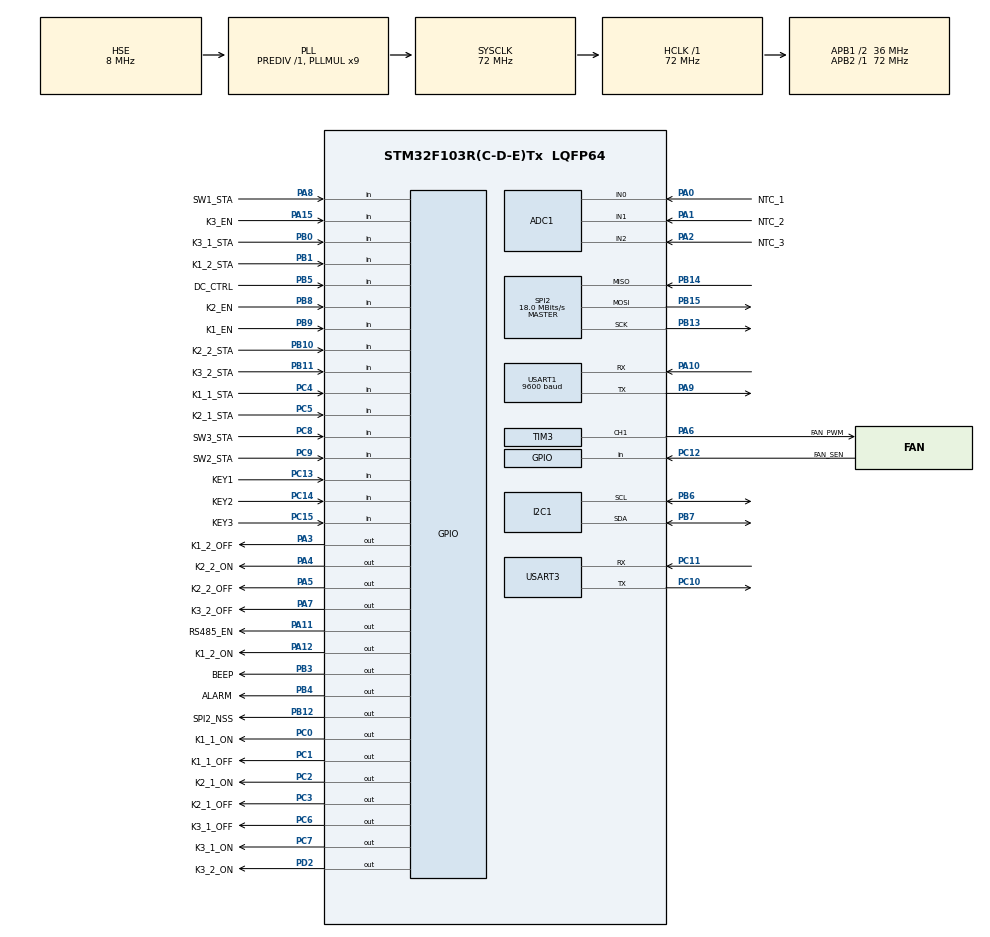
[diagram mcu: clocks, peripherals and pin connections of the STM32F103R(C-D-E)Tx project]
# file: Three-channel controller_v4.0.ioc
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ADC1.Channel-0\#ChannelRegularConversion=ADC_CHANNEL_0
ADC1.Channel-1\#ChannelRegularConversion=ADC_CHANNEL_1
ADC1.Channel-2\#ChannelRegularConversion=ADC_CHANNEL_2
ADC1.ContinuousConvMode=ENABLE
ADC1.NbrOfConversion=3
ADC1.NbrOfConversionFlag=1
ADC1.Rank-0\#ChannelRegularConversion=1
ADC1.Rank-1\#ChannelRegularConversion=2
ADC1.Rank-2\#ChannelRegularConversion=3
ADC1.SamplingTime-0\#ChannelRegularConversion=ADC_SAMPLETIME_55CYCLES_5
ADC1.SamplingTime-1\#ChannelRegularConversion=ADC_SAMPLETIME_55CYCLES_5
ADC1.SamplingTime-2\#ChannelRegularConversion=ADC_SAMPLETIME_55CYCLES_5
ADC1.master=1
Dma.ADC1.0.Direction=DMA_PERIPH_TO_MEMORY
Dma.ADC1.0.Instance=DMA1_Channel1
Dma.ADC1.0.MemDataAlignment=DMA_MDATAALIGN_HALFWORD
Dma.ADC1.0.MemInc=DMA_MINC_ENABLE
Dma.ADC1.0.Mode=DMA_CIRCULAR
Dma.ADC1.0.PeriphDataAlignment=DMA_PDATAALIGN_HALFWORD
Dma.ADC1.0.PeriphInc=DMA_PINC_DISABLE
Dma.ADC1.0.Priority=DMA_PRIORITY_LOW
Dma.Request0=ADC1
Mcu.Family=STM32F1
Mcu.Name=STM32F103R(C-D-E)Tx
Mcu.Package=LQFP64
NVIC.PriorityGroup=NVIC_PRIORITYGROUP_4
PA0-WKUP.GPIO_Label=NTC_1
PA0-WKUP.Signal=ADCx_IN0
PA1.GPIO_Label=NTC_2
PA1.Signal=ADCx_IN1
PA10.Mode=Asynchronous
PA10.Signal=USART1_RX
PA11.GPIO_Label=RS485_EN
PA11.GPIO_PuPd=GPIO_PULLDOWN
PA11.GPIO_Speed=GPIO_SPEED_FREQ_HIGH
PA11.PinState=GPIO_PIN_RESET
PA11.Signal=GPIO_Output
PA12.GPIO_Label=K1_2_ON
PA12.GPIO_PuPd=GPIO_PULLUP
PA12.GPIO_Speed=GPIO_SPEED_FREQ_HIGH
PA12.PinState=GPIO_PIN_SET
PA12.Signal=GPIO_Output
PA13.Mode=Serial_Wire
PA13.Signal=SYS_JTMS-SWDIO
PA14.Mode=Serial_Wire
PA14.Signal=SYS_JTCK-SWCLK
PA15.GPIO_Label=K3_EN
PA15.GPIO_PuPd=GPIO_PULLUP
PA15.Signal=GPIO_Input
PA2.GPIO_Label=NTC_3
PA2.Signal=ADCx_IN2
PA3.GPIO_Label=K1_2_OFF
PA3.GPIO_PuPd=GPIO_PULLUP
PA3.GPIO_Speed=GPIO_SPEED_FREQ_HIGH
PA3.PinState=GPIO_PIN_SET
PA3.Signal=GPIO_Output
PA4.GPIO_Label=K2_2_ON
PA4.GPIO_PuPd=GPIO_PULLUP
PA4.GPIO_Speed=GPIO_SPEED_FREQ_HIGH
PA4.PinState=GPIO_PIN_SET
PA4.Signal=GPIO_Output
PA5.GPIO_Label=K2_2_OFF
PA5.GPIO_PuPd=GPIO_PULLUP
PA5.GPIO_Speed=GPIO_SPEED_FREQ_HIGH
PA5.PinState=GPIO_PIN_SET
PA5.Signal=GPIO_Output
PA6.GPIO_Label=FAN_PWM
PA6.GPIO_Speed=GPIO_SPEED_FREQ_HIGH
PA6.Signal=S_TIM3_CH1
PA7.GPIO_Label=K3_2_OFF
PA7.GPIO_PuPd=GPIO_PULLUP
PA7.GPIO_Speed=GPIO_SPEED_FREQ_HIGH
PA7.PinState=GPIO_PIN_SET
PA7.Signal=GPIO_Output
PA8.GPIO_Label=SW1_STA
PA8.GPIO_PuPd=GPIO_PULLDOWN
PA8.Signal=GPIO_Input
PA9.Mode=Asynchronous
PA9.Signal=USART1_TX
PB0.GPIO_Label=K3_1_STA
PB0.GPIO_PuPd=GPIO_PULLDOWN
PB0.Signal=GPIO_Input
PB1.GPIO_Label=K1_2_STA
PB1.GPIO_PuPd=GPIO_PULLDOWN
PB1.Signal=GPIO_Input
PB10.GPIO_Label=K2_2_STA
PB10.GPIO_PuPd=GPIO_PULLDOWN
PB10.Signal=GPIO_Input
PB11.GPIO_Label=K3_2_STA
PB11.GPIO_PuPd=GPIO_PULLDOWN
PB11.Signal=GPIO_Input
PB12.GPIO_Label=SPI2_NSS
PB12.GPIO_PuPd=GPIO_PULLUP
PB12.GPIO_Speed=GPIO_SPEED_FREQ_HIGH
PB12.PinState=GPIO_PIN_SET
PB12.Signal=GPIO_Output
PB13.Mode=Full_Duplex_Master
PB13.Signal=SPI2_SCK
PB14.Mode=Full_Duplex_Master
PB14.Signal=SPI2_MISO
PB15.Mode=Full_Duplex_Master
PB15.Signal=SPI2_MOSI
PB3.GPIO_Label=BEEP
PB3.GPIO_PuPd=GPIO_PULLUP
PB3.GPIO_Speed=GPIO_SPEED_FREQ_HIGH
PB3.PinState=GPIO_PIN_SET
PB3.Signal=GPIO_Output
PB4.GPIO_Label=ALARM
PB4.GPIO_PuPd=GPIO_PULLUP
PB4.GPIO_Speed=GPIO_SPEED_FREQ_HIGH
PB4.PinState=GPIO_PIN_SET
PB4.Signal=GPIO_Output
PB5.GPIO_Label=DC_CTRL
PB5.GPIO_PuPd=GPIO_PULLUP
PB5.Signal=GPIO_Input
PB6.Mode=I2C
PB6.Signal=I2C1_SCL
PB7.Mode=I2C
PB7.Signal=I2C1_SDA
PB8.GPIO_Label=K2_EN
PB8.GPIO_PuPd=GPIO_PULLUP
PB8.Signal=GPIO_Input
PB9.GPIO_Label=K1_EN
PB9.GPIO_PuPd=GPIO_PULLUP
PB9.Signal=GPIO_Input
PC0.GPIO_Label=K1_1_ON
PC0.GPIO_PuPd=GPIO_PULLUP
PC0.GPIO_Speed=GPIO_SPEED_FREQ_HIGH
PC0.PinState=GPIO_PIN_SET
PC0.Signal=GPIO_Output
PC1.GPIO_Label=K1_1_OFF
PC1.GPIO_PuPd=GPIO_PULLUP
PC1.GPIO_Speed=GPIO_SPEED_FREQ_HIGH
PC1.PinState=GPIO_PIN_SET
PC1.Signal=GPIO_Output
PC10.Mode=Asynchronous
PC10.Signal=USART3_TX
PC11.Mode=Asynchronous
PC11.Signal=USART3_RX
PC12.GPIO_Label=FAN_SEN
PC12.GPIO_PuPd=GPIO_PULLUP
PC12.Signal=GPIO_Input
PC13-TAMPER-RTC.GPIO_Label=KEY1
PC13-TAMPER-RTC.GPIO_PuPd=GPIO_PULLUP
PC13-TAMPER-RTC.Signal=GPIO_Input
PC14-OSC32_IN.GPIO_Label=KEY2
PC14-OSC32_IN.GPIO_PuPd=GPIO_PULLUP
PC14-OSC32_IN.Signal=GPIO_Input
PC15-OSC32_OUT.GPIO_Label=KEY3
PC15-OSC32_OUT.GPIO_PuPd=GPIO_PULLUP
PC15-OSC32_OUT.Signal=GPIO_Input
PC2.GPIO_Label=K2_1_ON
PC2.GPIO_PuPd=GPIO_PULLUP
PC2.GPIO_Speed=GPIO_SPEED_FREQ_HIGH
PC2.PinState=GPIO_PIN_SET
PC2.Signal=GPIO_Output
PC3.GPIO_Label=K2_1_OFF
PC3.GPIO_PuPd=GPIO_PULLUP
PC3.GPIO_Speed=GPIO_SPEED_FREQ_HIGH
PC3.PinState=GPIO_PIN_SET
PC3.Signal=GPIO_Output
PC4.GPIO_Label=K1_1_STA
PC4.GPIO_PuPd=GPIO_PULLDOWN
PC4.Signal=GPIO_Input
PC5.GPIO_Label=K2_1_STA
PC5.GPIO_PuPd=GPIO_PULLDOWN
PC5.Signal=GPIO_Input
PC6.GPIO_Label=K3_1_OFF
PC6.GPIO_PuPd=GPIO_PULLUP
PC6.GPIO_Speed=GPIO_SPEED_FREQ_HIGH
PC6.PinState=GPIO_PIN_SET
PC6.Signal=GPIO_Output
PC7.GPIO_Label=K3_1_ON
PC7.GPIO_PuPd=GPIO_PULLUP
PC7.GPIO_Speed=GPIO_SPEED_FREQ_HIGH
PC7.PinState=GPIO_PIN_SET
PC7.Signal=GPIO_Output
PC8.GPIO_Label=SW3_STA
PC8.GPIO_PuPd=GPIO_PULLDOWN
PC8.Signal=GPIO_Input
PC9.GPIO_Label=SW2_STA
PC9.GPIO_PuPd=GPIO_PULLDOWN
PC9.Signal=GPIO_Input
PD0-OSC_IN.Mode=HSE-External-Oscillator
PD0-OSC_IN.Signal=RCC_OSC_IN
PD1-OSC_OUT.Mode=HSE-External-Oscillator
PD1-OSC_OUT.Signal=RCC_OSC_OUT
PD2.GPIO_Label=K3_2_ON
PD2.GPIO_PuPd=GPIO_PULLUP
PD2.GPIO_Speed=GPIO_SPEED_FREQ_HIGH
PD2.PinState=GPIO_PIN_SET
PD2.Signal=GPIO_Output
ProjectManager.HeapSize=0x200
ProjectManager.StackSize=0x400
ProjectManager.TargetToolchain=MDK-ARM V5.32
RCC.ADCPresc=RCC_ADCPCLK2_DIV6
RCC.AHBFreq_Value=72000000
RCC.APB1CLKDivider=RCC_HCLK_DIV2
RCC.APB1Freq_Value=36000000
RCC.APB1TimFreq_Value=72000000
RCC.APB2Freq_Value=72000000
RCC.APB2TimFreq_Value=72000000
RCC.HCLKFreq_Value=72000000
RCC.PLLMUL=RCC_PLL_MUL9
RCC.PLLSourceVirtual=RCC_PLLSOURCE_HSE
RCC.SYSCLKFreq_VALUE=72000000
RCC.SYSCLKSource=RCC_SYSCLKSOURCE_PLLCLK
RCC.USBFreq_Value=72000000
SH.ADCx_IN0.0=ADC1_IN0,IN0
SH.ADCx_IN1.0=ADC1_IN1,IN1
SH.ADCx_IN2.0=ADC1_IN2,IN2
SH.S_TIM3_CH1.0=TIM3_CH1,PWM Generation1 CH1
SPI2.CalculateBaudRate=18.0 MBits/s
SPI2.Direction=SPI_DIRECTION_2LINES
SPI2.Mode=SPI_MODE_MASTER
SPI2.VirtualType=VM_MASTER
TIM3.AutoReloadPreload=TIM_AUTORELOAD_PRELOAD_ENABLE
TIM3.Channel-PWM\ Generation1\ CH1=TIM_CHANNEL_1
TIM3.Period=99
TIM3.Prescaler=35
TIM3.Pulse-PWM\ Generation1\ CH1=50
USART1.BaudRate=9600
USART1.VirtualMode=VM_ASYNC
USART3.VirtualMode=VM_ASYNC
board=custom

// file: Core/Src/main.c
/* USER CODE BEGIN Header */
/**
  ******************************************************************************
  * @file           : main.c
  * @brief          : Main program body
  ******************************************************************************
  * @attention
  *
  * Copyright (c) 2025 STMicroelectronics.
  * All rights reserved.
  *
  * This software is licensed under terms that can be found in the LICENSE file
  * in the root directory of this software component.
  * If no LICENSE file comes with this software, it is provided AS-IS.
  *
  ******************************************************************************
  */
/* USER CODE END Header */
#include "main.h"
#include "adc.h"
#include "dma.h"
#include "i2c.h"
#include "spi.h"
#include "tim.h"
#include "usart.h"
#include "gpio.h"

/* USER CODE BEGIN Includes */
#include "system_config.h"
#include "relay_control.h"
#include "temperature_control.h"
#include "alarm_manager.h"
#include "oled_display.h"
#include "system_monitor.h"        // 新增：系统监控模块
#include "app_main.h"              // 新增：主控制模块
/* USER CODE END Includes */

/* USER CODE BEGIN PV */
// 系统运行状态标志
static uint8_t system_initialized = 0;     // 系统初始化完成标志
static uint32_t main_loop_counter = 0;     // 主循环计数器（用于调试）
static uint32_t last_error_time = 0;       // 上次错误发生时间

// 系统性能监控
static uint32_t loop_start_time = 0;       // 循环开始时间
static uint32_t max_loop_time = 0;         // 最大循环时间
/* USER CODE END PV */

void SystemClock_Config(void);
/* USER CODE BEGIN PFP */
static void System_InitializeAllModules(void);   // 系统模块初始化
static void System_RunMainLoop(void);            // 主循环处理
static void System_ErrorHandler(void);           // 系统错误处理
static void System_PerformanceMonitor(void);     // 性能监控
/* USER CODE END PFP */

int main(void)
{

  /* MCU Configuration--------------------------------------------------------*/

  /* Reset of all peripherals, Initializes the Flash interface and the Systick. */
  HAL_Init();

  /* Configure the system clock */
  SystemClock_Config();

  /* Initialize all configured peripherals */
  MX_GPIO_Init();
  MX_DMA_Init();
  MX_ADC1_Init();
  MX_TIM3_Init();
  MX_I2C1_Init();
  MX_SPI2_Init();
  MX_USART1_UART_Init();
  MX_USART3_UART_Init();
  /* USER CODE BEGIN 2 */
  // 系统完整初始化
  System_InitializeAllModules();

  // 设置系统初始化完成标志
  system_initialized = 1;

  // 启动主控制模块
  AppMain_Init();
  /* USER CODE END 2 */

  /* Infinite loop */
  while (1)
  {

    /* USER CODE BEGIN 3 */
    // 记录循环开始时间（性能监控）
    loop_start_time = HAL_GetTick();

    // 执行主循环处理
    System_RunMainLoop();

    // 性能监控
    System_PerformanceMonitor();

    // 主循环计数
    main_loop_counter++;
  }
  /* USER CODE END 3 */
}

void SystemClock_Config(void)
{
  RCC_OscInitTypeDef RCC_OscInitStruct = {0};
  RCC_ClkInitTypeDef RCC_ClkInitStruct = {0};
  RCC_PeriphCLKInitTypeDef PeriphClkInit = {0};

  /** Initializes the RCC Oscillators according to the specified parameters
  * in the RCC_OscInitTypeDef structure.
  */
  RCC_OscInitStruct.OscillatorType = RCC_OSCILLATORTYPE_HSE;
  RCC_OscInitStruct.HSEState = RCC_HSE_ON;
  RCC_OscInitStruct.HSEPredivValue = RCC_HSE_PREDIV_DIV1;
  RCC_OscInitStruct.HSIState = RCC_HSI_ON;
  RCC_OscInitStruct.PLL.PLLState = RCC_PLL_ON;
  RCC_OscInitStruct.PLL.PLLSource = RCC_PLLSOURCE_HSE;
  RCC_OscInitStruct.PLL.PLLMUL = RCC_PLL_MUL9;
  if (HAL_RCC_OscConfig(&RCC_OscInitStruct) != HAL_OK)
  {
    Error_Handler();
  }

  /** Initializes the CPU, AHB and APB buses clocks
  */
  RCC_ClkInitStruct.ClockType = RCC_CLOCKTYPE_HCLK|RCC_CLOCKTYPE_SYSCLK
                              |RCC_CLOCKTYPE_PCLK1|RCC_CLOCKTYPE_PCLK2;
  RCC_ClkInitStruct.SYSCLKSource = RCC_SYSCLKSOURCE_PLLCLK;
  RCC_ClkInitStruct.AHBCLKDivider = RCC_SYSCLK_DIV1;
  RCC_ClkInitStruct.APB1CLKDivider = RCC_HCLK_DIV2;
  RCC_ClkInitStruct.APB2CLKDivider = RCC_HCLK_DIV1;

  if (HAL_RCC_ClockConfig(&RCC_ClkInitStruct, FLASH_LATENCY_2) != HAL_OK)
  {
    Error_Handler();
  }
  PeriphClkInit.PeriphClockSelection = RCC_PERIPHCLK_ADC;
  PeriphClkInit.AdcClockSelection = RCC_ADCPCLK2_DIV6;
  if (HAL_RCCEx_PeriphCLKConfig(&PeriphClkInit) != HAL_OK)
  {
    Error_Handler();
  }
}

/* USER CODE BEGIN 4 */

/**
 * @brief 系统模块初始化
 * @param None
 * @retval None
 */
static void System_InitializeAllModules(void)
{
    // 按照依赖关系顺序初始化各模块
    RelayControl_Init();           // 继电器控制模块
    TemperatureControl_Init();     // 温度控制模块
    AlarmManager_Init();           // 报警管理模块
    SystemMonitor_Init();          // 系统监控模块
    OLEDDisplay_Init();            // OLED显示模块

    // 短暂延时确保所有模块稳定
    HAL_Delay(100);
}

/**
 * @brief 主循环处理
 * @param None
 * @retval None
 */
static void System_RunMainLoop(void)
{
    // 检查系统初始化状态
    if (!system_initialized)
    {
        System_ErrorHandler();
        return;
    }

    // 主控制模块运行（包含状态机）
    AppMain_Run();

    // 各功能模块任务处理（按优先级排序）
    SystemMonitor_Task();          // 最高优先级：系统监控
    AlarmManager_Task();           // 高优先级：报警处理
    RelayControl_Task();           // 中优先级：继电器控制
    TemperatureControl_Task();     // 中优先级：温度控制
    OLEDDisplay_Task();            // 低优先级：显示更新
}

/**
 * @brief 系统错误处理
 * @param None
 * @retval None
 */
static void System_ErrorHandler(void)
{
    // 记录错误时间
    last_error_time = HAL_GetTick();

    // 标记变量已使用，避免编译警告
    (void)last_error_time;

    // 激活系统错误报警
    AlarmManager_SetAlarm(ALARM_N);  // N类异常：自检异常

    // 紧急安全处理：关闭所有通道
    RelayControl_TurnOffChannel1();
    RelayControl_TurnOffChannel2();
    RelayControl_TurnOffChannel3();

    // 激活报警输出
    HAL_GPIO_WritePin(ALARM_GPIO_Port, ALARM_Pin, GPIO_PIN_RESET);

    // 显示错误状态
    OLEDDisplay_ShowAlarmInterface();
}

/**
 * @brief 性能监控
 * @param None
 * @retval None
 */
static void System_PerformanceMonitor(void)
{
    // 计算循环执行时间
    uint32_t loop_time = HAL_GetTick() - loop_start_time;

    // 记录最大循环时间
    if (loop_time > max_loop_time)
    {
        max_loop_time = loop_time;
    }

    // 如果循环时间过长，进行警告
    if (loop_time > MAIN_LOOP_DELAY_MS * 5) // 超过50ms
    {
        // 可以在这里添加性能警告处理
    }

    // 控制主循环频率
    HAL_Delay(MAIN_LOOP_DELAY_MS);
}

/* USER CODE END 4 */

void Error_Handler(void)
{
  /* USER CODE BEGIN Error_Handler_Debug */

  // 系统级错误处理
  System_ErrorHandler();

  // 禁用所有中断
  __disable_irq();

  // 死循环等待看门狗复位或外部复位
  while (1)
  {
    // 保持报警状态
    HAL_GPIO_WritePin(ALARM_GPIO_Port, ALARM_Pin, GPIO_PIN_RESET);
    HAL_Delay(100);
  }

  /* USER CODE END Error_Handler_Debug */
}
